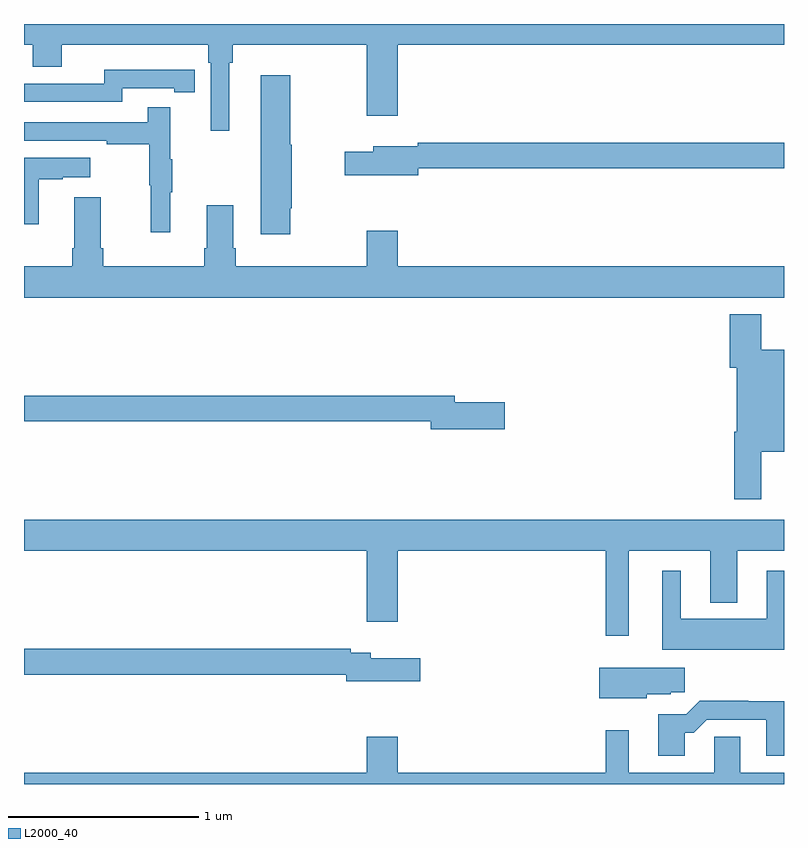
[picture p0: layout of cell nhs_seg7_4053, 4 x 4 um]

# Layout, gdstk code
import gdstk
lib = gdstk.Library(unit=1e-6, precision=1e-09)
def P(c, l, *ps):  # polygons
    for p in ps: c.add(gdstk.Polygon(p, *l))
L2000_40 = (2000, 40)

nhs_seg7_4053 = lib.new_cell('nhs_seg7_4053')
P(nhs_seg7_4053, L2000_40, [(371,1058),(367,1058),(367,1057.892),(367.046,1057.892),(367.046,1057.775),(367.198,1057.775),(367.198,1057.892),(367.97,1057.892),(367.97,1057.796),(367.983,1057.796),(367.983,1057.437),(368.08,1057.437),(368.08,1057.796),(368.099,1057.796),(368.099,1057.892),(368.804,1057.892),(368.804,1057.518),(368.968,1057.518),(368.968,1057.892),(371,1057.892)],
  [(367.518,1057.662),(367.79,1057.662),(367.79,1057.642),(367.898,1057.642),(367.898,1057.758),(367.79,1057.758),(367.79,1057.759),(367.422,1057.759),(367.422,1057.686),(367,1057.686),(367,1057.59),(367.518,1057.59)],
  [(368.4,1057.029),(368.41,1057.029),(368.41,1057.365),(368.4,1057.365),(368.4,1057.729),(368.246,1057.729),(368.246,1056.894),(368.4,1056.894)],
  [(367.769,1057.115),(367.78,1057.115),(367.78,1057.289),(367.769,1057.289),(367.769,1057.561),(367.651,1057.561),(367.651,1057.482),(367,1057.482),(367,1057.386),(367.435,1057.386),(367.435,1057.366),(367.659,1057.366),(367.659,1057.152),(367.666,1057.152),(367.666,1056.903),(367.769,1056.903)],
  [(369.076,1057.24),(371,1057.24),(371,1057.376),(369.072,1057.376),(369.072,1057.357),(368.837,1057.357),(368.837,1057.327),(368.688,1057.327),(368.688,1057.205),(369.076,1057.205)],
  [(367.078,1057.183),(367.205,1057.183),(367.205,1057.193),(367.348,1057.193),(367.348,1057.297),(367,1057.297),(367,1056.945),(367.078,1056.945)],
  [(371,1056.724),(368.968,1056.724),(368.968,1056.913),(368.804,1056.913),(368.804,1056.724),(368.114,1056.724),(368.114,1056.82),(368.101,1056.82),(368.101,1057.045),(367.961,1057.045),(367.961,1056.82),(367.949,1056.82),(367.949,1056.724),(367.418,1056.724),(367.418,1056.82),(367.405,1056.82),(367.405,1057.087),(367.265,1057.087),(367.265,1056.82),(367.253,1056.82),(367.253,1056.724),(367,1056.724),(367,1056.56),(371,1056.56)],
  [(370.879,1055.75),(371,1055.75),(371,1056.285),(370.879,1056.285),(370.879,1056.472),(370.715,1056.472),(370.715,1056.192),(370.751,1056.192),(370.751,1055.854),(370.739,1055.854),(370.739,1055.499),(370.879,1055.499)],
  [(369.529,1056.008),(369.268,1056.008),(369.268,1056.044),(367,1056.044),(367,1055.908),(369.14,1055.908),(369.14,1055.866),(369.529,1055.866)],
  [(370.183,1055.228),(370.613,1055.228),(370.613,1054.955),(370.753,1054.955),(370.753,1055.228),(371,1055.228),(371,1055.392),(367,1055.392),(367,1055.228),(368.804,1055.228),(368.804,1054.854),(368.968,1054.854),(368.968,1055.228),(370.062,1055.228),(370.062,1054.779),(370.183,1054.779)],
  [(371,1055.122),(370.91,1055.122),(370.91,1054.87),(370.456,1054.87),(370.456,1055.122),(370.358,1055.122),(370.358,1054.706),(371,1054.706)],
  [(369.085,1054.663),(368.824,1054.663),(368.824,1054.692),(368.72,1054.692),(368.72,1054.712),(367,1054.712),(367,1054.576),(368.696,1054.576),(368.696,1054.541),(369.085,1054.541)],
  [(370.278,1054.472),(370.404,1054.472),(370.404,1054.483),(370.477,1054.483),(370.477,1054.612),(370.028,1054.612),(370.028,1054.451),(370.278,1054.451)],
  [(370.477,1054.271),(370.526,1054.271),(370.593,1054.338),(370.907,1054.338),(370.907,1054.149),(371,1054.149),(371,1054.436),(370.811,1054.436),(370.811,1054.439),(370.556,1054.439),(370.485,1054.368),(370.337,1054.368),(370.337,1054.149),(370.477,1054.149)],
  [(371,1054.06),(370.771,1054.06),(370.771,1054.25),(370.632,1054.25),(370.632,1054.06),(370.183,1054.06),(370.183,1054.282),(370.062,1054.282),(370.062,1054.06),(368.968,1054.06),(368.968,1054.249),(368.804,1054.249),(368.804,1054.06),(367,1054.06),(367,1054),(371,1054)])

lib.write_gds('nhs_seg7_4053.gds')
